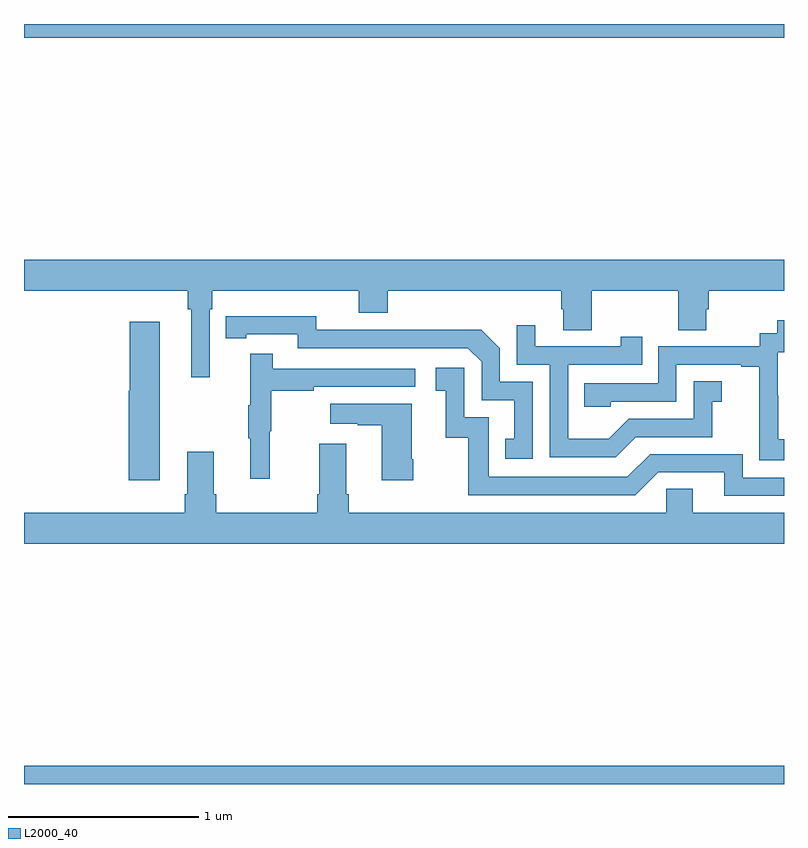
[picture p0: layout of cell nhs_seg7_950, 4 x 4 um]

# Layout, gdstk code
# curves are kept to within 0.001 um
import gdstk
lib = gdstk.Library(unit=1e-6, precision=1e-09)
def R(c, l, rs):  # rectangles x0, y0, x1, y1
    for r in rs: c.add(gdstk.rectangle(r[:2], r[2:], *l))
def P(c, l, *ps):  # polygons
    for p in ps: c.add(gdstk.Polygon(p, *l))
L2000_40 = (2000, 40)

nhs_seg7_950 = lib.new_cell('nhs_seg7_950')
R(nhs_seg7_950, L2000_40, [(181,1018,185,1018.096), (181,1021.928,185,1022)])
P(nhs_seg7_950, L2000_40, [(181.977,1020.5),(181.991,1020.5),(181.991,1020.596),(182.762,1020.596),(182.762,1020.479),(182.915,1020.479),(182.915,1020.596),(183.827,1020.596),(183.827,1020.498),(183.839,1020.498),(183.839,1020.388),(183.987,1020.388),(183.987,1020.596),(184.444,1020.596),(184.444,1020.388),(184.591,1020.388),(184.591,1020.498),(184.604,1020.498),(184.604,1020.596),(185,1020.596),(185,1020.76),(181,1020.76),(181,1020.596),(181.861,1020.596),(181.861,1020.5),(181.88,1020.5),(181.88,1020.141),(181.977,1020.141)],
  [(183.678,1020.117),(183.504,1020.117),(183.504,1020.294),(183.406,1020.392),(182.998,1020.392),(182.998,1020.39),(182.538,1020.39),(182.538,1020.463),(182.062,1020.462),(182.062,1020.346),(182.17,1020.346),(182.17,1020.366),(182.442,1020.366),(182.442,1020.294),(183.336,1020.294),(183.408,1020.222),(183.408,1020.021),(183.581,1020.021),(183.581,1019.817),(183.532,1019.817),(183.532,1019.712),(183.678,1019.712)],
  [(185,1019.815),(184.97,1019.815),(184.97,1020.044),(184.968,1020.044),(184.968,1020.273),(185,1020.273),(185,1020.442),(184.965,1020.442),(184.965,1020.372),(184.872,1020.372),(184.872,1020.303),(184.338,1020.303),(184.338,1020.108),(183.949,1020.108),(183.949,1019.985),(184.089,1019.985),(184.089,1020.012),(184.434,1020.012),(184.434,1020.207),(184.775,1020.207),(184.775,1020.195),(184.871,1020.195),(184.871,1019.911),(184.87,1019.911),(184.87,1019.705),(185,1019.705)],
  [(181.714,1020.433),(181.556,1020.433),(181.556,1020.069),(181.55,1020.069),(181.55,1019.598),(181.714,1019.598)],
  [(184.219,1019.826),(184.623,1019.826),(184.623,1020.011),(184.672,1020.011),(184.672,1020.121),(184.524,1020.121),(184.524,1019.922),(184.182,1019.922),(184.078,1019.818),(183.864,1019.818),(183.864,1020.207),(184.253,1020.207),(184.253,1020.355),(184.142,1020.355),(184.142,1020.303),(183.691,1020.303),(183.691,1020.415),(183.594,1020.415),(183.594,1020.207),(183.768,1020.207),(183.768,1019.721),(184.114,1019.721)],
  [(182.294,1019.856),(182.302,1019.856),(182.302,1020.07),(182.525,1020.07),(182.525,1020.09),(183.058,1020.09),(183.058,1020.186),(182.309,1020.186),(182.309,1020.265),(182.192,1020.265),(182.192,1019.993),(182.181,1019.993),(182.181,1019.819),(182.192,1019.819),(182.192,1019.607),(182.294,1019.607)],
  [(185,1019.613),(184.782,1019.613),(184.782,1019.736),(184.296,1019.736),(184.176,1019.616),(183.447,1019.616),(183.447,1019.931),(183.318,1019.931),(183.318,1020.19),(183.168,1020.19),(183.168,1020.069),(183.221,1020.069),(183.221,1019.823),(183.339,1019.823),(183.339,1019.52),(184.218,1019.52),(184.338,1019.64),(184.685,1019.64),(184.685,1019.517),(185,1019.517)],
  [(183.048,1019.71),(183.04,1019.71),(183.04,1020.001),(182.613,1020.001),(182.613,1019.897),(182.756,1019.897),(182.756,1019.887),(182.882,1019.887),(182.882,1019.598),(183.048,1019.598)],
  [(185,1019.428),(184.519,1019.428),(184.519,1019.555),(184.38,1019.555),(184.38,1019.428),(182.708,1019.428),(182.708,1019.524),(182.695,1019.524),(182.695,1019.791),(182.555,1019.791),(182.555,1019.524),(182.543,1019.524),(182.543,1019.428),(182.012,1019.428),(182.012,1019.524),(181.999,1019.524),(181.999,1019.749),(181.859,1019.749),(181.859,1019.524),(181.847,1019.524),(181.847,1019.428),(181,1019.428),(181,1019.264),(185,1019.264)])

lib.write_gds('nhs_seg7_950.gds')
